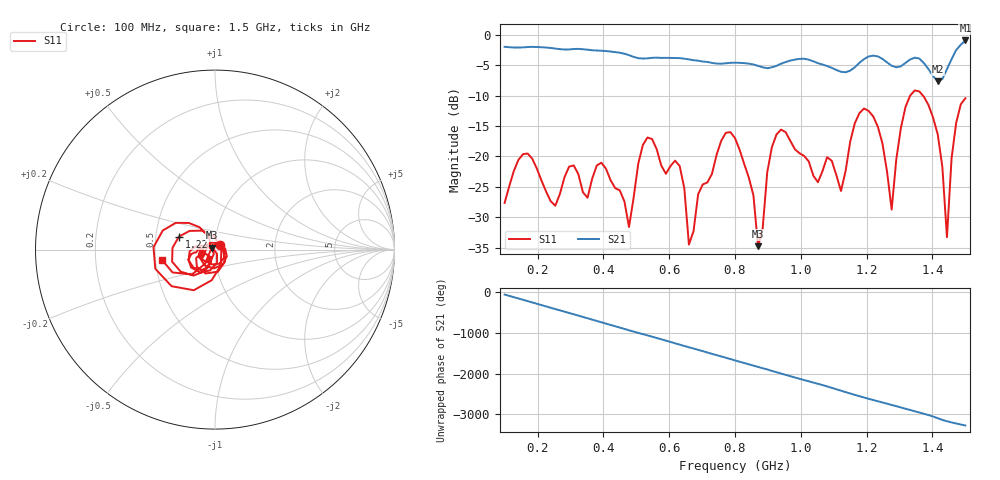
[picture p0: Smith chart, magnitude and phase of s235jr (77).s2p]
! NanoVNA-App
! Date: 2025-09-26 09:45:23
! Start: 100MHz Stop: 1,5GHz Points: 101
! S-Parameter data: F S11 S21 S12 S22
# Hz S RI R 50
!  Frequency  S11_Real  S11_Imag  S21_Real  S21_Imag  S12_Real  S12_Imag  S22_Real  S22_Imag
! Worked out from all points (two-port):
!   101 points, 100 MHz to 1.5 GHz, reference 50 ohm
!   highest |S21| = -0.91 dB at 1.5 GHz (marker M1); lowest = -7.7 dB at 1.416 GHz (marker M2)
!   |S21| within 3 dB of the highest: start of sweep to 646.2 MHz; 1.194 GHz to 1.247 GHz (52.35 MHz wide, 4.29 % of centre)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
!   lowest |S11| = -34.8 dB at 870 MHz (marker M3), VSWR 1.04, Z = 48.5 + j1 ohm
!   |S11| at or under -10 dB: start of sweep to 1.332 GHz; 1.371 GHz to end of sweep
!   S12 and S22 are empty: the file has one direction only
!   S11 on the Smith chart (normalised r, x): 100 MHz: 1.06, +0.06; 1.22 GHz: 0.66, +0.10; 1.5 GHz: 0.54, -0.07
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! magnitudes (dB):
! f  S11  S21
! 100 MHz  -27.6  -2.0
! 156 MHz  -19.6  -2.1
! 338 MHz  -25.9  -2.4
! 394 MHz  -21.0  -2.6
! 478 MHz  -31.6  -3.3
! 520 MHz  -18.1  -3.9
! 576 MHz  -21.5  -3.8
! 632 MHz  -21.6  -3.8
! 660 MHz  -34.5  -4.0
! 800 MHz  -17.0  -4.6
! 870 MHz  -34.8  -5.1
! 926 MHz  -16.4  -5.1
! 1.038 GHz  -23.2  -4.3
! 1.122 GHz  -25.7  -6.1
! 1.164 GHz  -14.5  -5.3
! 1.22 GHz  -13.4  -3.4
! 1.276 GHz  -28.7  -5.1
! 1.332 GHz  -10.0  -4.0
! 1.416 GHz  -16.4  -7.7
! 1.444 GHz  -33.3  -5.6
! 1.472 GHz  -14.5  -2.5
! 1.5 GHz  -10.4  -0.9
